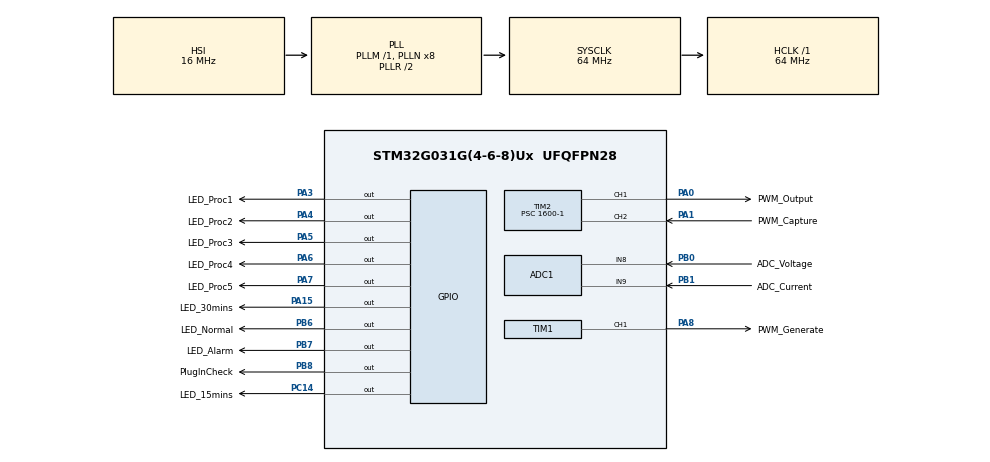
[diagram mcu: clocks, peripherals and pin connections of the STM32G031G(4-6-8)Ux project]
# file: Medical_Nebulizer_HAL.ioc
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ADC1.Channel-2\#ChannelRegularConversion=ADC_CHANNEL_8
ADC1.Channel-3\#ChannelRegularConversion=ADC_CHANNEL_9
ADC1.ContinuousConvMode=ENABLE
ADC1.DMAContinuousRequests=ENABLE
ADC1.EnableAnalogWatchDog1=false
ADC1.NbrOfConversion=2
ADC1.NbrOfConversionFlag=1
ADC1.Rank-2\#ChannelRegularConversion=1
ADC1.Rank-3\#ChannelRegularConversion=2
ADC1.SamplingTime-2\#ChannelRegularConversion=ADC_SAMPLINGTIME_COMMON_1
ADC1.SamplingTime-3\#ChannelRegularConversion=ADC_SAMPLINGTIME_COMMON_1
ADC1.SelectedChannel=ADC_CHANNEL_8|ADC_CHANNEL_9
ADC1.master=1
Dma.ADC1.0.Direction=DMA_PERIPH_TO_MEMORY
Dma.ADC1.0.EventEnable=DISABLE
Dma.ADC1.0.Instance=DMA1_Channel1
Dma.ADC1.0.MemDataAlignment=DMA_MDATAALIGN_HALFWORD
Dma.ADC1.0.MemInc=DMA_MINC_ENABLE
Dma.ADC1.0.Mode=DMA_CIRCULAR
Dma.ADC1.0.PeriphDataAlignment=DMA_PDATAALIGN_HALFWORD
Dma.ADC1.0.PeriphInc=DMA_PINC_DISABLE
Dma.ADC1.0.Polarity=HAL_DMAMUX_REQ_GEN_RISING
Dma.ADC1.0.Priority=DMA_PRIORITY_LOW
Dma.ADC1.0.RequestNumber=1
Dma.ADC1.0.SignalID=NONE
Dma.ADC1.0.SyncEnable=DISABLE
Dma.ADC1.0.SyncPolarity=HAL_DMAMUX_SYNC_NO_EVENT
Dma.ADC1.0.SyncRequestNumber=1
Dma.ADC1.0.SyncSignalID=NONE
Dma.Request0=ADC1
Mcu.Family=STM32G0
Mcu.Name=STM32G031G(4-6-8)Ux
Mcu.Package=UFQFPN28
NVIC.ADC1_IRQn=true\:0\:0\:false\:false\:true\:true\:true\:true
NVIC.DMA1_Channel1_IRQn=true\:0\:0\:false\:false\:true\:false\:true\:true
NVIC.TIM1_BRK_UP_TRG_COM_IRQn=true\:0\:0\:false\:false\:true\:true\:true\:true
NVIC.TIM1_CC_IRQn=true\:0\:0\:false\:false\:true\:true\:true\:true
NVIC.TIM2_IRQn=true\:0\:0\:false\:false\:true\:true\:true\:true
PA0.GPIO_Label=PWM_Output
PA0.Signal=S_TIM2_CH1_ETR
PA1.GPIO_Label=PWM_Capture
PA1.Signal=S_TIM2_CH2
PA13.Mode=Serial_Wire
PA13.Signal=SYS_SWDIO
PA14-BOOT0.Mode=Serial_Wire
PA14-BOOT0.Signal=SYS_SWCLK
PA15.GPIO_Label=LED_30mins
PA15.PinState=GPIO_PIN_SET
PA15.Signal=GPIO_Output
PA3.GPIO_Label=LED_Proc1
PA3.PinState=GPIO_PIN_SET
PA3.Signal=GPIO_Output
PA4.GPIO_Label=LED_Proc2
PA4.PinState=GPIO_PIN_SET
PA4.Signal=GPIO_Output
PA5.GPIO_Label=LED_Proc3
PA5.PinState=GPIO_PIN_SET
PA5.Signal=GPIO_Output
PA6.GPIO_Label=LED_Proc4
PA6.PinState=GPIO_PIN_SET
PA6.Signal=GPIO_Output
PA7.GPIO_Label=LED_Proc5
PA7.PinState=GPIO_PIN_SET
PA7.Signal=GPIO_Output
PA8.GPIO_Label=PWM_Generate
PA8.Signal=S_TIM1_CH1
PB0.GPIO_Label=ADC_Voltage
PB0.Mode=IN8
PB0.Signal=ADC1_IN8
PB1.GPIO_Label=ADC_Current
PB1.Mode=IN9
PB1.Signal=ADC1_IN9
PB6.GPIO_Label=LED_Normal
PB6.PinState=GPIO_PIN_SET
PB6.Signal=GPIO_Output
PB7.GPIO_Label=LED_Alarm
PB7.PinState=GPIO_PIN_SET
PB7.Signal=GPIO_Output
PB8.GPIO_Label=PlugInCheck
PB8.GPIO_PuPd=GPIO_NOPULL
PB8.PinState=GPIO_PIN_SET
PB8.Signal=GPIO_Output
PC14-OSC32_IN\ (PC14).GPIO_Label=LED_15mins
PC14-OSC32_IN\ (PC14).PinState=GPIO_PIN_SET
PC14-OSC32_IN\ (PC14).Signal=GPIO_Output
ProjectManager.HeapSize=0x200
ProjectManager.StackSize=0x400
ProjectManager.TargetToolchain=MDK-ARM V5
RCC.ADCFreq_Value=64000000
RCC.AHBFreq_Value=64000000
RCC.APB1CLKDivider=RCC_HCLK_DIV2
RCC.CortexFreq_Value=64000000
RCC.EXTERNAL_CLOCK_VALUE=12288000
RCC.HCLKFreq_Value=64000000
RCC.HSE_VALUE=8000000
RCC.HSI_VALUE=16000000
RCC.LSE_VALUE=32768
RCC.PLLQ=RCC_PLLQ_DIV4
RCC.SYSCLKFreq_VALUE=64000000
RCC.SYSCLKSource=RCC_SYSCLKSOURCE_PLLCLK
RCC.VCOOutputFreq_Value=128000000
SH.S_TIM1_CH1.0=TIM1_CH1,PWM Generation1 CH1
SH.S_TIM2_CH1_ETR.0=TIM2_CH1,PWM Generation1 CH1
SH.S_TIM2_CH2.0=TIM2_CH2,Input_Capture2_from_TI2
TIM1.Channel-PWM\ Generation1\ CH1=TIM_CHANNEL_1
TIM1.Period=600-1
TIM1.Prescaler=0
TIM1.Pulse-PWM\ Generation1\ CH1=300
TIM2.Channel-Input_Capture2_from_TI2=TIM_CHANNEL_2
TIM2.Channel-PWM\ Generation1\ CH1=TIM_CHANNEL_1
TIM2.ICFilter_CH2=4
TIM2.Period=12000-1
TIM2.Prescaler=1600-1
TIM2.Pulse-PWM\ Generation1\ CH1=6000
board=custom

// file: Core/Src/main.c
/* USER CODE BEGIN Header */
/**
 ******************************************************************************
 * @file           : main.c
 * @brief          : Main program body
 ******************************************************************************
 * @attention
 *
 * Copyright (c) 2024 STMicroelectronics.
 * All rights reserved.
 *
 * This software is licensed under terms that can be found in the LICENSE file
 * in the root directory of this software component.
 * If no LICENSE file comes with this software, it is provided AS-IS.
 *
 ******************************************************************************
 */
/* USER CODE END Header */
#include "main.h"
#include "adc.h"
#include "dma.h"
#include "tim.h"
#include "gpio.h"

/* USER CODE BEGIN Includes */
#include "sweep_freq.h"
#include "func.h"
#include "median_average_filtering.h"
#include "adc_calc.h"
#include "led.h"
#include "SEGGER_RTT.h"
/* USER CODE END Includes */

/* USER CODE BEGIN PV */
ADCData adcData = {0};

volatile uint16_t adcBuffer[ADC_BUFFER_SIZE];
volatile float ADC_Value[ADC_BUFFER_SIZE]; // 声明数组来存储ADC采样结果

uint32_t last_interrupt_tick = 0;
/* USER CODE END PV */

void SystemClock_Config(void);

int main(void)
{

  /* MCU Configuration--------------------------------------------------------*/

  /* Reset of all peripherals, Initializes the Flash interface and the Systick. */
  HAL_Init();

  /* Configure the system clock */
  SystemClock_Config();

  /* Initialize all configured peripherals */
  MX_GPIO_Init();
  MX_DMA_Init();
  MX_ADC1_Init();
  MX_TIM1_Init();
  MX_TIM2_Init();
  /* USER CODE BEGIN 2 */

  if (HAL_ADC_Start_DMA(&hadc1, (uint32_t *)adcBuffer, ADC_BUFFER_SIZE) != HAL_OK)
  {
    Error_Handler();
  }

  HAL_TIM_PWM_Start(&htim2, TIM_CHANNEL_1);
  HAL_TIM_IC_Start_IT(&htim2, TIM_CHANNEL_2);

  /* USER CODE END 2 */

  /* Infinite loop */
  /* USER CODE BEGIN WHILE */
  // sweepFreq();  //// 扫频完成后，设置TIM1为最佳频频率
  SEGGER_RTT_Init();
  SEGGER_RTT_printf(0, "Hello world !");
  adcValue();

  while (1)
  {
    /* USER CODE END WHILE */

    /* USER CODE BEGIN 3 */
    // sweepFreq();
    StartPWM(&htim1, TIM_CHANNEL_1, 109000);
    //  Handle_8Hz_Signal();
  }
  /* USER CODE END 3 */
}

void SystemClock_Config(void)
{
  RCC_OscInitTypeDef RCC_OscInitStruct = {0};
  RCC_ClkInitTypeDef RCC_ClkInitStruct = {0};

  /** Configure the main internal regulator output voltage
  */
  HAL_PWREx_ControlVoltageScaling(PWR_REGULATOR_VOLTAGE_SCALE1);

  /** Initializes the RCC Oscillators according to the specified parameters
  * in the RCC_OscInitTypeDef structure.
  */
  RCC_OscInitStruct.OscillatorType = RCC_OSCILLATORTYPE_HSI;
  RCC_OscInitStruct.HSIState = RCC_HSI_ON;
  RCC_OscInitStruct.HSIDiv = RCC_HSI_DIV1;
  RCC_OscInitStruct.HSICalibrationValue = RCC_HSICALIBRATION_DEFAULT;
  RCC_OscInitStruct.PLL.PLLState = RCC_PLL_ON;
  RCC_OscInitStruct.PLL.PLLSource = RCC_PLLSOURCE_HSI;
  RCC_OscInitStruct.PLL.PLLM = RCC_PLLM_DIV1;
  RCC_OscInitStruct.PLL.PLLN = 8;
  RCC_OscInitStruct.PLL.PLLP = RCC_PLLP_DIV2;
  RCC_OscInitStruct.PLL.PLLQ = RCC_PLLQ_DIV4;
  RCC_OscInitStruct.PLL.PLLR = RCC_PLLR_DIV2;
  if (HAL_RCC_OscConfig(&RCC_OscInitStruct) != HAL_OK)
  {
    Error_Handler();
  }

  /** Initializes the CPU, AHB and APB buses clocks
  */
  RCC_ClkInitStruct.ClockType = RCC_CLOCKTYPE_HCLK|RCC_CLOCKTYPE_SYSCLK
                              |RCC_CLOCKTYPE_PCLK1;
  RCC_ClkInitStruct.SYSCLKSource = RCC_SYSCLKSOURCE_PLLCLK;
  RCC_ClkInitStruct.AHBCLKDivider = RCC_SYSCLK_DIV1;
  RCC_ClkInitStruct.APB1CLKDivider = RCC_HCLK_DIV2;

  if (HAL_RCC_ClockConfig(&RCC_ClkInitStruct, FLASH_LATENCY_2) != HAL_OK)
  {
    Error_Handler();
  }
}

void Error_Handler(void)
{
  __disable_irq();
  while (1)
  {
  }
}
